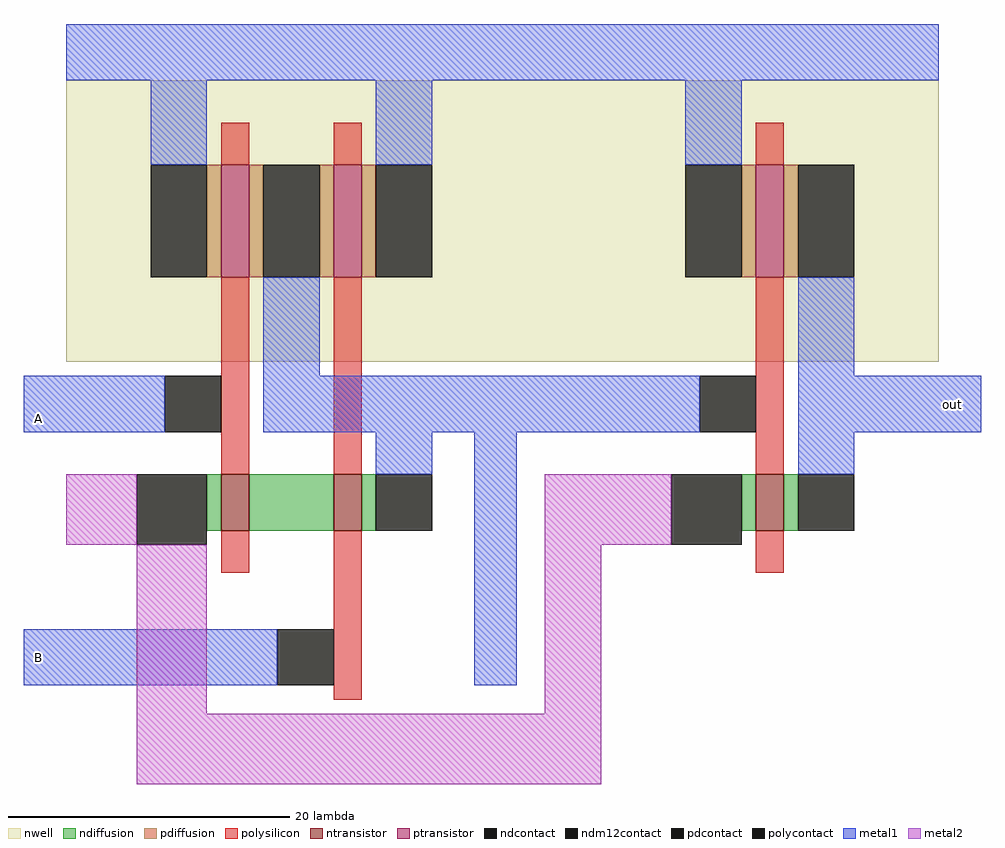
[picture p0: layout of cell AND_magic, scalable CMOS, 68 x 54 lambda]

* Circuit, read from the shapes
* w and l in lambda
.subckt AND_magic A B GND VDD out
M1 n1 A GND VSUBS nfet w=4 l=2
M2 NOT_magic_0/in B n1 VSUBS nfet w=4 l=2
M3 out NOT_magic_0/in GND VSUBS nfet w=4 l=2
M4 NOT_magic_0/in A VDD n2 pfet w=8 l=2
M5 VDD B NOT_magic_0/in n2 pfet w=8 l=2
M6 out NOT_magic_0/in VDD n2 pfet w=8 l=2
.ends

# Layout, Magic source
magic
tech scmos
<< nwell >>
rect 32 19 38 39
<< metal1 >>
rect 32 39 38 43
rect -3 14 0 18
rect 32 14 38 18
rect 62 14 65 18
rect -3 -4 11 0
<< metal2 >>
rect 5 -6 10 6
rect 34 -6 38 11
rect 5 -11 38 -6
use NOT_magic  NOT_magic_0
transform 1 0 38 0 1 19
box 0 -15 24 24
use NAND_magic  NAND_magic_0
transform 1 0 0 0 1 19
box 0 -24 32 24
<< labels >>
rlabel metal1 -2 15 -2 15 3 A
rlabel metal1 -2 -2 -2 -2 3 B
rlabel metal1 63 16 63 16 7 out
<< end >>

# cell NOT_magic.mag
magic
tech scmos
<< nwell >>
rect 0 0 24 20
<< ntransistor >>
rect 11 -12 13 -8
<< ptransistor >>
rect 11 6 13 14
<< ndiffusion >>
rect 10 -12 11 -8
rect 13 -12 14 -8
<< pdiffusion >>
rect 10 6 11 14
rect 13 6 14 14
<< ndcontact >>
rect 14 -12 18 -8
<< pdcontact >>
rect 6 6 10 14
rect 14 6 18 14
<< polysilicon >>
rect 11 14 13 17
rect 11 -8 13 6
rect 11 -15 13 -12
<< polycontact >>
rect 7 -5 11 -1
<< metal1 >>
rect 0 20 24 24
rect 6 14 10 20
rect 14 -1 18 6
rect 0 -5 7 -1
rect 14 -5 24 -1
rect 14 -8 18 -5
<< ndm12contact >>
rect 5 -13 10 -8
<< metal2 >>
rect 0 -13 5 -8
<< labels >>
rlabel metal1 0 20 24 24 5 VDD
rlabel metal2 0 -13 5 -8 2 GND
rlabel metal1 21 -3 21 -3 7 out
rlabel metal1 3 -3 3 -3 3 in
<< end >>

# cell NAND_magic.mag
magic
tech scmos
<< nwell >>
rect 0 0 32 20
<< ntransistor >>
rect 11 -12 13 -8
rect 19 -12 21 -8
<< ptransistor >>
rect 11 6 13 14
rect 19 6 21 14
<< ndiffusion >>
rect 10 -12 11 -8
rect 13 -12 19 -8
rect 21 -12 22 -8
<< pdiffusion >>
rect 10 6 11 14
rect 13 6 14 14
rect 18 6 19 14
rect 21 6 22 14
<< ndcontact >>
rect 22 -12 26 -8
<< pdcontact >>
rect 6 6 10 14
rect 14 6 18 14
rect 22 6 26 14
<< polysilicon >>
rect 11 14 13 17
rect 19 14 21 17
rect 11 -8 13 6
rect 19 -8 21 6
rect 11 -15 13 -12
rect 19 -24 21 -12
<< polycontact >>
rect 7 -5 11 -1
rect 15 -23 19 -19
<< metal1 >>
rect 0 20 32 24
rect 6 14 10 20
rect 22 14 26 20
rect 14 -1 18 6
rect 0 -5 7 -1
rect 14 -5 32 -1
rect 22 -8 26 -5
rect 11 -23 15 -19
rect 29 -23 32 -5
<< ndm12contact >>
rect 5 -13 10 -8
<< metal2 >>
rect 0 -13 5 -8
<< labels >>
rlabel metal1 0 20 32 24 5 VDD
rlabel metal2 0 -13 5 -8 3 GND
rlabel metal1 3 -3 3 -3 3 A
rlabel metal1 13 -21 13 -21 1 B
rlabel metal1 31 -21 31 -21 7 out
<< end >>
